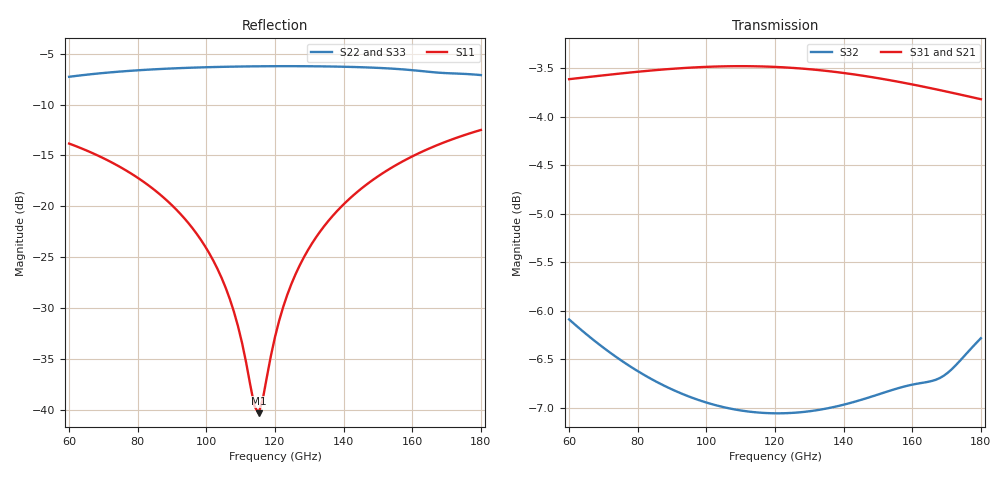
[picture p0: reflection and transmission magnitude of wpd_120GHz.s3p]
#  GHZ S DB R 50
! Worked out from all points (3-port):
!   101 points, 60 GHz to 180 GHz, reference 50 ohm
!   strongest paths, dB at 60 GHz, 90 GHz, 120 GHz, 150 GHz, 180 GHz:
!     S31: -3.6, -3.5, -3.5, -3.6, -3.8
!     S21: -3.6, -3.5, -3.5, -3.6, -3.8
!     S32: -6.1, -6.8, -7.1, -6.9, -6.3
!   lowest |S11| = -40.4 dB at 115.2 GHz (marker M1), VSWR 1.02, Z = 51 - j0.0779 ohm
!   |S11| at or under -10 dB: start of sweep to end of sweep
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60  -13.84 131.0  -3.61 -44.6  -3.61 -44.6
    -3.61 -44.6  -7.27 48.8  -6.09 -98.3
    -3.61 -44.6  -6.09 -98.3  -7.28 48.7
81.6  -17.57 112.8  -3.53 -61.2  -3.53 -61.2
      -3.53 -61.2  -6.60 26.4  -6.65 -128.5
      -3.53 -61.2  -6.65 -128.5  -6.61 26.3
97.2  -22.72 97.1  -3.49 -73.4  -3.49 -73.4
      -3.49 -73.4  -6.36 12.8  -6.91 -149.6
      -3.49 -73.4  -6.91 -149.6  -6.37 12.8
106.8  -29.09 81.1  -3.48 -80.9  -3.48 -80.9
       -3.48 -80.9  -6.28 5.1  -7.01 -162.5
       -3.48 -80.9  -7.01 -162.5  -6.29 5.1
115.2  -40.36 -4.6  -3.48 -87.6  -3.48 -87.6
       -3.48 -87.6  -6.24 -1.4  -7.05 -173.7
       -3.48 -87.6  -7.05 -173.7  -6.25 -1.4
120  -32.86 -68.7  -3.49 -91.4  -3.49 -91.4
     -3.49 -91.4  -6.23 -5.1  -7.06 179.9
     -3.49 -91.4  -7.06 179.9  -6.24 -5.1
127.2  -25.81 -88.5  -3.50 -97.1  -3.50 -97.1
       -3.50 -97.1  -6.23 -10.7  -7.05 170.2
       -3.50 -97.1  -7.05 170.2  -6.24 -10.6
139.2  -20.08 -103.3  -3.55 -106.6  -3.55 -106.6
       -3.55 -106.6  -6.28 -20.1  -6.97 154.0
       -3.55 -106.6  -6.97 154.0  -6.29 -20.1
157.2  -15.59 -119.6  -3.65 -120.7  -3.65 -120.7
       -3.65 -120.7  -6.54 -35.4  -6.78 129.0
       -3.65 -120.7  -6.78 129.0  -6.55 -35.4
180  -12.50 -138.0  -3.82 -138.2  -3.82 -138.2
     -3.82 -138.2  -7.10 -56.9  -6.28 97.9
     -3.82 -138.2  -6.28 97.9  -7.12 -56.9
